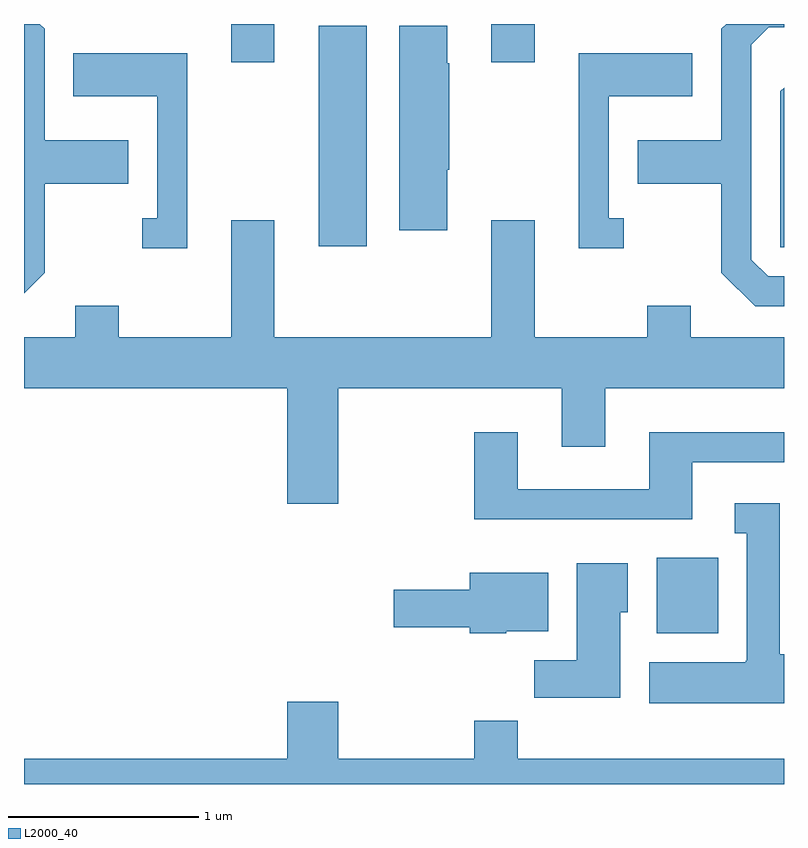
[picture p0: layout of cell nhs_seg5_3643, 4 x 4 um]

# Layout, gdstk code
import gdstk
lib = gdstk.Library(unit=1e-6, precision=1e-09)
def R(c, l, rs):  # rectangles x0, y0, x1, y1
    for r in rs: c.add(gdstk.rectangle(r[:2], r[2:], *l))
def P(c, l, *ps):  # polygons
    for p in ps: c.add(gdstk.Polygon(p, *l))
L2000_40 = (2000, 40)

nhs_seg5_3643 = lib.new_cell('nhs_seg5_3643')
R(nhs_seg5_3643, L2000_40, [(296.941,1428.866,297.264,1429.264), (295.161,1430.901,295.414,1432.064), (294.701,1431.871,294.929,1432.072), (296.071,1431.871,296.299,1432.072)])
P(nhs_seg5_3643, L2000_40, [(293.719,1430.764),(293.719,1431.231),(294.159,1431.231),(294.159,1431.459),(293.719,1431.459),(293.719,1432.047),(293.694,1432.072),(293.611,1432.072),(293.611,1430.655)],
  [(297.611,1430.744),(297.527,1430.744),(297.439,1430.832),(297.439,1431.964),(297.532,1432.056),(297.611,1432.056),(297.611,1432.072),(297.306,1432.072),(297.281,1432.047),(297.281,1431.459),(296.841,1431.459),(296.841,1431.231),(297.281,1431.231),(297.281,1430.764),(297.459,1430.586),(297.611,1430.586)],
  [(295.839,1431.305),(295.849,1431.305),(295.849,1431.865),(295.839,1431.865),(295.839,1432.064),(295.586,1432.064),(295.586,1430.986),(295.839,1430.986)],
  [(294.469,1431.919),(293.871,1431.919),(293.871,1431.691),(294.311,1431.691),(294.311,1431.049),(294.233,1431.049),(294.233,1430.891),(294.469,1430.891)],
  [(296.768,1431.049),(296.689,1431.049),(296.689,1431.691),(297.129,1431.691),(297.129,1431.919),(296.531,1431.919),(296.531,1430.891),(296.768,1430.891)],
  [(297.611,1431.737),(297.591,1431.717),(297.591,1430.896),(297.611,1430.896)],
  [(295.264,1430.156),(296.441,1430.156),(296.441,1429.846),(296.669,1429.846),(296.669,1430.156),(297.611,1430.156),(297.611,1430.424),(297.119,1430.424),(297.119,1430.589),(296.891,1430.589),(296.891,1430.424),(296.299,1430.424),(296.299,1431.039),(296.071,1431.039),(296.071,1430.424),(294.929,1430.424),(294.929,1431.039),(294.701,1431.039),(294.701,1430.424),(294.109,1430.424),(294.109,1430.589),(293.881,1430.589),(293.881,1430.424),(293.611,1430.424),(293.611,1430.156),(294.996,1430.156),(294.996,1429.546),(295.264,1429.546)],
  [(297.129,1429.766),(297.611,1429.766),(297.611,1429.924),(296.901,1429.924),(296.901,1429.624),(296.209,1429.624),(296.209,1429.924),(295.981,1429.924),(295.981,1429.466),(297.129,1429.466)],
  [(297.611,1428.754),(297.589,1428.754),(297.589,1429.549),(297.353,1429.549),(297.353,1429.391),(297.416,1429.391),(297.416,1428.72),(297.41,1428.72),(297.41,1428.714),(296.901,1428.714),(296.901,1428.496),(297.611,1428.496)],
  [(296.749,1428.976),(296.789,1428.976),(296.789,1429.234),(296.521,1429.234),(296.521,1428.724),(296.296,1428.724),(296.296,1428.526),(296.749,1428.526)],
  [(296.15,1428.876),(296.369,1428.876),(296.369,1429.184),(295.956,1429.184),(295.956,1429.094),(295.556,1429.094),(295.556,1428.896),(295.956,1428.896),(295.956,1428.866),(296.15,1428.866)],
  [(297.611,1428.204),(296.209,1428.204),(296.209,1428.404),(295.981,1428.404),(295.981,1428.204),(295.264,1428.204),(295.264,1428.504),(294.996,1428.504),(294.996,1428.204),(293.611,1428.204),(293.611,1428.072),(297.611,1428.072)])

lib.write_gds('nhs_seg5_3643.gds')
